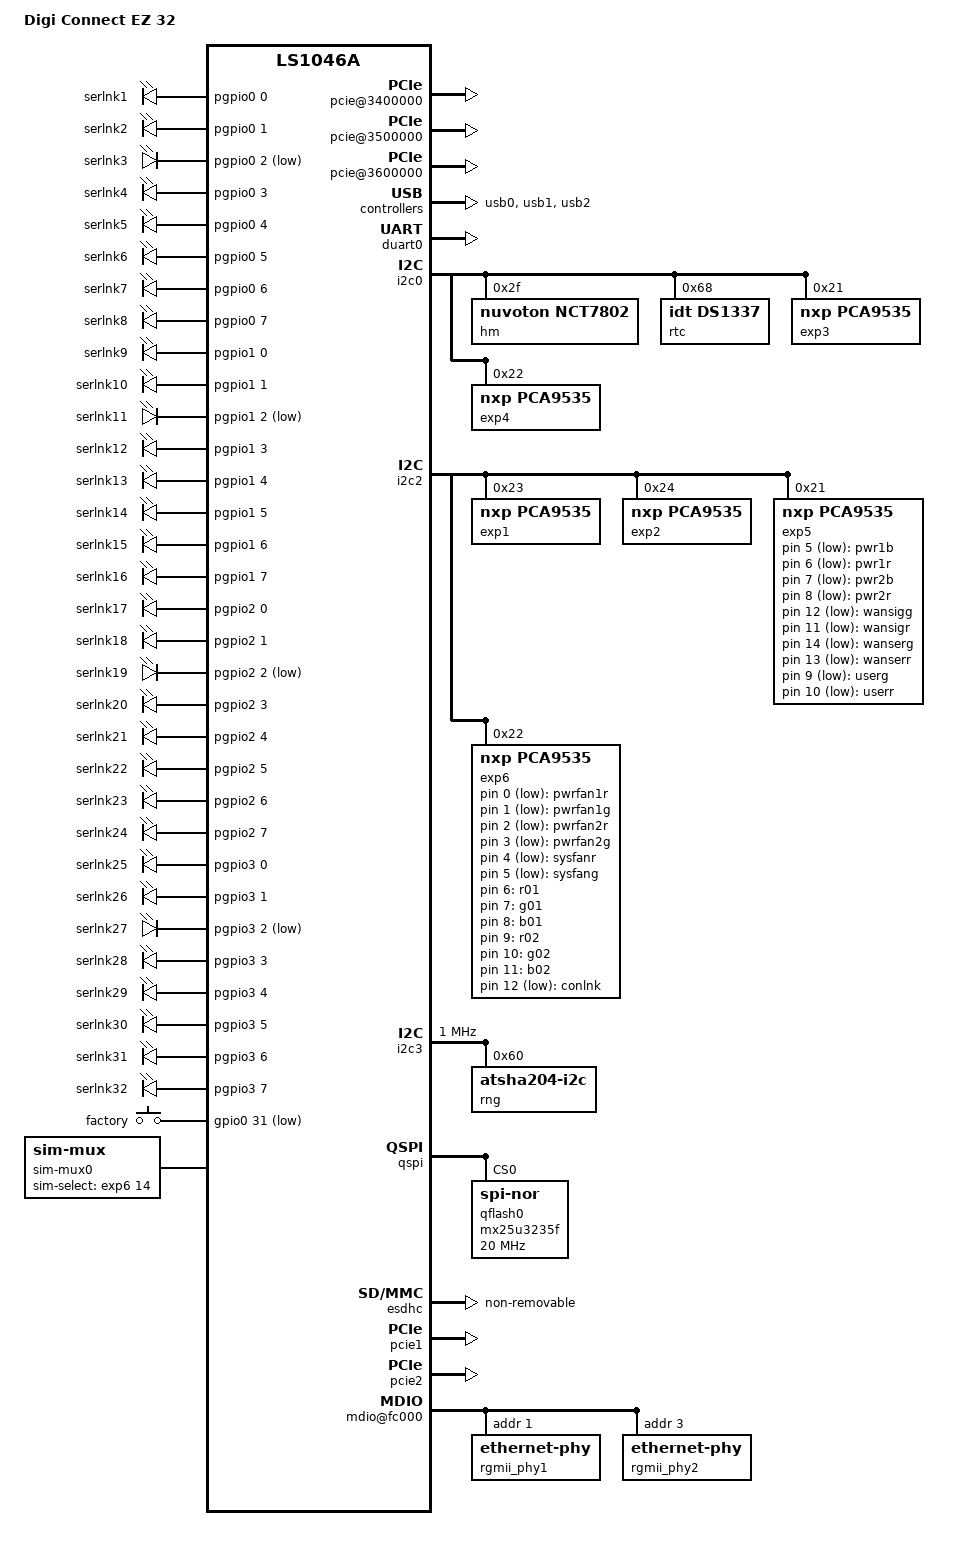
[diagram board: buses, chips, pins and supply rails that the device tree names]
// SPDX-License-Identifier: (GPL-2.0+ OR MIT)
/*
 * Device Tree Include file for Digi Connect EZ 32.
 *
 * Copyright 2016 Freescale Semiconductor, Inc.
 * Copyright 2018.2021 Digi Inc.
 *
 * Mingkai Hu <mingkai.hu@nxp.com>
 * Greg Ungerer <gregory.ungerer@digi.com>
 */

/dts-v1/;

#include "fsl-ls1046a.dtsi"
#include <dt-bindings/interrupt-controller/arm-gic.h>
#include <dt-bindings/gpio/gpio.h>
#include <dt-bindings/input/input.h>

/ {
	model = "Digi Connect EZ 32";
	compatible = "digi,connectez32", "fsl,ls1046a";

	aliases {
		serial0 = &duart0;
	};

	chosen {
		stdout-path = "serial0:115200n8";
	};

	pgpio0: pericom-gpio0 {
		#gpio-cells = <2>;
		gpio-controller;
		gpio-line-names = "serlnk1", "serlnk2", "serlnk3", "serlnk4",
		                  "serlnk5", "serlnk6", "serlnk7", "serlnk8";
	};

	pgpio1: pericom-gpio1 {
		#gpio-cells = <2>;
		gpio-controller;
		gpio-line-names = "serlnk9", "serlnk10", "serlnk11", "serlnk12",
		                  "serlnk13", "serlnk14", "serlnk15", "serlnk16";
	};

	pgpio2: pericom-gpio2 {
		#gpio-cells = <2>;
		gpio-controller;
		gpio-line-names = "serlnk17", "serlnk18", "serlnk19", "serlnk20",
		                  "serlnk21", "serlnk22", "serlnk23", "serlnk24";
	};

	pgpio3: pericom-gpio3 {
		#gpio-cells = <2>;
		gpio-controller;
		gpio-line-names = "serlnk25", "serlnk26", "serlnk27", "serlnk28",
		                  "serlnk29", "serlnk30", "serlnk31", "serlnk32";
	};

	leds {
		compatible = "gpio-leds";

		serlnk1 {
			label = "serlnk1";
			gpios = <&pgpio0 0 GPIO_ACTIVE_HIGH>;
			linux,default-trigger = "timer";
			default-state = "off";
		};

		serlnk2 {
			label = "serlnk2";
			gpios = <&pgpio0 1 GPIO_ACTIVE_HIGH>;
			linux,default-trigger = "timer";
			default-state = "off";
		};

		serlnk3 {
			label = "serlnk3";
			gpios = <&pgpio0 2 GPIO_ACTIVE_LOW>;
			linux,default-trigger = "timer";
			default-state = "off";
		};

		serlnk4 {
			label = "serlnk4";
			gpios = <&pgpio0 3 GPIO_ACTIVE_HIGH>;
			linux,default-trigger = "timer";
			default-state = "off";
		};

		serlnk5 {
			label = "serlnk5";
			gpios = <&pgpio0 4 GPIO_ACTIVE_HIGH>;
			linux,default-trigger = "timer";
			default-state = "off";
		};

		serlnk6 {
			label = "serlnk6";
			gpios = <&pgpio0 5 GPIO_ACTIVE_HIGH>;
			linux,default-trigger = "timer";
			default-state = "off";
		};

		serlnk7 {
			label = "serlnk7";
			gpios = <&pgpio0 6 GPIO_ACTIVE_HIGH>;
			linux,default-trigger = "timer";
			default-state = "off";
		};

		serlnk8 {
			label = "serlnk8";
			gpios = <&pgpio0 7 GPIO_ACTIVE_HIGH>;
			linux,default-trigger = "timer";
			default-state = "off";
		};

		serlnk9 {
			label = "serlnk9";
			gpios = <&pgpio1 0 GPIO_ACTIVE_HIGH>;
			linux,default-trigger = "timer";
			default-state = "off";
		};

		serlnk10 {
			label = "serlnk10";
			gpios = <&pgpio1 1 GPIO_ACTIVE_HIGH>;
			linux,default-trigger = "timer";
			default-state = "off";
		};

		serlnk11 {
			label = "serlnk11";
			gpios = <&pgpio1 2 GPIO_ACTIVE_LOW>;
			linux,default-trigger = "timer";
			default-state = "off";
		};

		serlnk12 {
			label = "serlnk12";
			gpios = <&pgpio1 3 GPIO_ACTIVE_HIGH>;
			linux,default-trigger = "timer";
			default-state = "off";
		};

		serlnk13 {
			label = "serlnk13";
			gpios = <&pgpio1 4 GPIO_ACTIVE_HIGH>;
			linux,default-trigger = "timer";
			default-state = "off";
		};

		serlnk14 {
			label = "serlnk14";
			gpios = <&pgpio1 5 GPIO_ACTIVE_HIGH>;
			linux,default-trigger = "timer";
			default-state = "off";
		};

		serlnk15 {
			label = "serlnk15";
			gpios = <&pgpio1 6 GPIO_ACTIVE_HIGH>;
			linux,default-trigger = "timer";
			default-state = "off";
		};

		serlnk16 {
			label = "serlnk16";
			gpios = <&pgpio1 7 GPIO_ACTIVE_HIGH>;
			linux,default-trigger = "timer";
			default-state = "off";
		};

		serlnk17 {
			label = "serlnk17";
			gpios = <&pgpio2 0 GPIO_ACTIVE_HIGH>;
			linux,default-trigger = "timer";
			default-state = "off";
		};

		serlnk18 {
			label = "serlnk18";
			gpios = <&pgpio2 1 GPIO_ACTIVE_HIGH>;
			linux,default-trigger = "timer";
			default-state = "off";
		};

		serlnk19 {
			label = "serlnk19";
			gpios = <&pgpio2 2 GPIO_ACTIVE_LOW>;
			linux,default-trigger = "timer";
			default-state = "off";
		};

		serlnk20 {
			label = "serlnk20";
			gpios = <&pgpio2 3 GPIO_ACTIVE_HIGH>;
			linux,default-trigger = "timer";
			default-state = "off";
		};

		serlnk21 {
			label = "serlnk21";
			gpios = <&pgpio2 4 GPIO_ACTIVE_HIGH>;
			linux,default-trigger = "timer";
			default-state = "off";
		};

		serlnk22 {
			label = "serlnk22";
			gpios = <&pgpio2 5 GPIO_ACTIVE_HIGH>;
			linux,default-trigger = "timer";
			default-state = "off";
		};

		serlnk23 {
			label = "serlnk23";
			gpios = <&pgpio2 6 GPIO_ACTIVE_HIGH>;
			linux,default-trigger = "timer";
			default-state = "off";
		};

		serlnk24 {
			label = "serlnk24";
			gpios = <&pgpio2 7 GPIO_ACTIVE_HIGH>;
			linux,default-trigger = "timer";
			default-state = "off";
		};

		serlnk25 {
			label = "serlnk25";
			gpios = <&pgpio3 0 GPIO_ACTIVE_HIGH>;
			linux,default-trigger = "timer";
			default-state = "off";
		};

		serlnk26 {
			label = "serlnk26";
			gpios = <&pgpio3 1 GPIO_ACTIVE_HIGH>;
			linux,default-trigger = "timer";
			default-state = "off";
		};

		serlnk27 {
			label = "serlnk27";
			gpios = <&pgpio3 2 GPIO_ACTIVE_LOW>;
			linux,default-trigger = "timer";
			default-state = "off";
		};

		serlnk28 {
			label = "serlnk28";
			gpios = <&pgpio3 3 GPIO_ACTIVE_HIGH>;
			linux,default-trigger = "timer";
			default-state = "off";
		};

		serlnk29 {
			label = "serlnk29";
			gpios = <&pgpio3 4 GPIO_ACTIVE_HIGH>;
			linux,default-trigger = "timer";
			default-state = "off";
		};

		serlnk30 {
			label = "serlnk30";
			gpios = <&pgpio3 5 GPIO_ACTIVE_HIGH>;
			linux,default-trigger = "timer";
			default-state = "off";
		};

		serlnk31 {
			label = "serlnk31";
			gpios = <&pgpio3 6 GPIO_ACTIVE_HIGH>;
			linux,default-trigger = "timer";
			default-state = "off";
		};

		serlnk32 {
			label = "serlnk32";
			gpios = <&pgpio3 7 GPIO_ACTIVE_HIGH>;
			linux,default-trigger = "timer";
			default-state = "off";
		};

		pwr1_blue {
			label = "pwr1b";
			gpios = <&exp5 5 GPIO_ACTIVE_LOW>;
			linux,default-trigger = "timer";
			default-state = "off";
		};

		pwr1_red {
			label = "pwr1r";
			gpios = <&exp5 6 GPIO_ACTIVE_LOW>;
			linux,default-trigger = "timer";
			default-state = "off";
		};

		pwr2_blue {
			label = "pwr2b";
			gpios = <&exp5 7 GPIO_ACTIVE_LOW>;
			linux,default-trigger = "timer";
			default-state = "off";
		};

		pwr2_red {
			label = "pwr2r";
			gpios = <&exp5 8 GPIO_ACTIVE_LOW>;
			linux,default-trigger = "timer";
			default-state = "off";
		};

		wwan_sig_gr {
			label = "wansigg";
			gpios = <&exp5 12 GPIO_ACTIVE_LOW>;
			linux,default-trigger = "timer";
			default-state = "off";
		};

		wwan_sig_red {
			label = "wansigr";
			gpios = <&exp5 11 GPIO_ACTIVE_LOW>;
			linux,default-trigger = "timer";
		};

		wwan_serv_gr {
			label = "wanserg";
			gpios = <&exp5 14 GPIO_ACTIVE_LOW>;
			linux,default-trigger = "timer";
			default-state = "off";
		};

		wwan_serv_red {
			label = "wanserr";
			gpios = <&exp5 13 GPIO_ACTIVE_LOW>;
			linux,default-trigger = "timer";
			default-state = "off";
		};

		pwr_fan1_red {
			label = "pwrfan1r";
			gpios = <&exp6 0 GPIO_ACTIVE_LOW>;
			linux,default-trigger = "timer";
			default-state = "off";
		};

		pwr_fan1_gr {
			label = "pwrfan1g";
			gpios = <&exp6 1 GPIO_ACTIVE_LOW>;
			linux,default-trigger = "timer";
			default-state = "off";
		};

		pwr_fan2_red {
			label = "pwrfan2r";
			gpios = <&exp6 2 GPIO_ACTIVE_LOW>;
			linux,default-trigger = "timer";
			default-state = "off";
		};

		pwr_fan2_gr {
			label = "pwrfan2g";
			gpios = <&exp6 3 GPIO_ACTIVE_LOW>;
			linux,default-trigger = "timer";
			default-state = "off";
		};

		sys_fan_red {
			label = "sysfanr";
			gpios = <&exp6 4 GPIO_ACTIVE_LOW>;
			linux,default-trigger = "timer";
			default-state = "off";
		};

		sys_fan_gr {
			label = "sysfang";
			gpios = <&exp6 5 GPIO_ACTIVE_LOW>;
			linux,default-trigger = "timer";
			default-state = "off";
		};

		usb1_red {
			label = "r01";
			gpios = <&exp6 6 GPIO_ACTIVE_HIGH>;
			linux,default-trigger = "timer";
			default-state = "off";
		};

		usb1_gr {
			label = "g01";
			gpios = <&exp6 7 GPIO_ACTIVE_HIGH>;
			linux,default-trigger = "timer";
			default-state = "off";
		};

		usb1_blue {
			label = "b01";
			gpios = <&exp6 8 GPIO_ACTIVE_HIGH>;
			linux,default-trigger = "timer";
			default-state = "off";
		};

		usb2_red {
			label = "r02";
			gpios = <&exp6 9 GPIO_ACTIVE_HIGH>;
			linux,default-trigger = "timer";
			default-state = "off";
		};

		usb2_gr {
			label = "g02";
			gpios = <&exp6 10 GPIO_ACTIVE_HIGH>;
			linux,default-trigger = "timer";
			default-state = "off";
		};

		usb2_blue {
			label = "b02";
			gpios = <&exp6 11 GPIO_ACTIVE_HIGH>;
			linux,default-trigger = "timer";
			default-state = "off";
		};

		user_gr {
			label = "userg";
			gpios = <&exp5 9 GPIO_ACTIVE_LOW>;
			linux,default-trigger = "timer";
			default-state = "off";
		};

		user_red {
			label = "userr";
			gpios = <&exp5 10 GPIO_ACTIVE_LOW>;
			linux,default-trigger = "timer";
			default-state = "off";
		};

		con_link {
			label = "conlnk";
			gpios = <&exp6 12 GPIO_ACTIVE_LOW>;
			linux,default-trigger = "timer";
			default-state = "off";
		};
	};

	soc {
		 pcie@3400000 {
			compatible = "fsl,ls1046a-pcie", "snps,dw-pcie";
			status = "okay";
			num-ib-windows = <6>;
			num-ob-windows = <6>;
		 };
		 pcie@3500000 {
			compatible = "fsl,ls1046a-pcie", "snps,dw-pcie";
			status = "okay";
			num-ib-windows = <6>;
			num-ob-windows = <6>;
		 };
		 pcie@3600000 {
			compatible = "fsl,ls1046a-pcie", "snps,dw-pcie";
			status = "okay";
			num-ib-windows = <6>;
			num-ob-windows = <6>;
		 };

		aux_bus {
			usb0: usb@2f00000 {
				usb3-lpm-capable;
				snps,dis-u1u2-when-u3-quirk;
				snps,incr-burst-type-adjustment = <1>, <4>, <8>, <16>;
				clock-names = "ref", "bus_early", "suspend";
				clocks = <&clockgen 4 1>, <&clockgen 4 1>,<&clockgen 4 1>;
				status = "okay";
			};

			usb1: usb@3000000 {
				usb3-lpm-capable;
				snps,dis-u1u2-when-u3-quirk;
				snps,incr-burst-type-adjustment = <1>, <4>, <8>, <16>;
				clock-names = "ref", "bus_early", "suspend";
				clocks = <&clockgen 4 1>, <&clockgen 4 1>,<&clockgen 4 1>;
				status = "okay";
			};

			usb2: usb@3100000 {
				usb3-lpm-capable;
				snps,dis-u1u2-when-u3-quirk;
				snps,incr-burst-type-adjustment = <1>, <4>, <8>, <16>;
				clock-names = "ref", "bus_early", "suspend";
				clocks = <&clockgen 4 1>, <&clockgen 4 1>,<&clockgen 4 1>;
				status = "okay";
			};
		};
	};

	gpio-keys {
		compatible = "gpio-keys";

		factory-button {
			label = "factory";
			linux,code = <KEY_DELETE>;
			gpios = <&gpio0 31 GPIO_ACTIVE_LOW>;
		};
	};

	sim-mux0 {
		compatible = "sim-mux";

		sim-select-gpios  = <&exp6 14 GPIO_ACTIVE_HIGH>;

		sim-count = <2>;
	};
};

&duart0 {
	status = "okay";
	dtr-gpios = <&gpio0 27 GPIO_ACTIVE_LOW>;
	dsr-gpios = <&gpio0 29 GPIO_ACTIVE_LOW>;
	dcd-gpios = <&gpio0 28 GPIO_ACTIVE_LOW>;
	rng-gpios = <&gpio0 30 GPIO_ACTIVE_LOW>;
	uart-has-rtscts;
};

&i2c0 {
	status = "okay";
	hm@2f {
		compatible = "nuvoton,nct7802";
		reg = <0x2f>;
	};
	rtc@68 {
		compatible = "idt,ds1337";
		reg = <0x68>;
	};

	/****************************************************************
	 * MEI */
	exp3: pca9535@21 {
		#gpio-cells = <2>;
		compatible = "nxp,pca9535";
		reg = <0x21>;
		pinctrl-names = "default";
		gpio-controller;
		gpio-line-names = "2w_en17", "2w_en18", "2w_en19", "2w_en20", "2w_en21", "2w_en22", "2w_en23", "2w_en24",
		                   "term17",  "term18",  "term19",  "term20",  "term21",  "term22",  "term23",  "term24";
	};

	exp4: pca9535@22 {
		#gpio-cells = <2>;
		compatible = "nxp,pca9535";
		reg = <0x22>;
		pinctrl-names = "default";
		gpio-controller;
		gpio-line-names = "2w_en25", "2w_en26", "2w_en27", "2w_en28", "2w_en29", "2w_en30", "2w_en31", "2w_en32",
		                   "term25",  "term26",  "term27",  "term28",  "term29",  "term30",  "term31",  "term32";
	};
	/****************************************************************/
};

&i2c2 {
	status = "okay";
	
	/****************************************************************
	 * MEI */
	exp1: pca9535@23 {
		#gpio-cells = <2>;
		compatible = "nxp,pca9535";
		reg = <0x23>;
		pinctrl-names = "default";
		gpio-controller;
		gpio-line-names = "2w_en1", "2w_en2", "2w_en3", "2w_en4", "2w_en5", "2w_en6", "2w_en7", "2w_en8",
		                   "term1",  "term2",  "term3",  "term4",  "term5",  "term6",  "term7",  "term8";
	};

	exp2: pca9535@24 {
		#gpio-cells = <2>;
		compatible = "nxp,pca9535";
		reg = <0x24>;
		pinctrl-names = "default";
		gpio-controller;
		gpio-line-names = "2w_en9", "2w_en10", "2w_en11", "2w_en12", "2w_en13", "2w_en14", "2w_en15", "2w_en16",
		                   "term9",  "term10",  "term11",  "term12",  "term13",  "term14",  "term15",  "term16";
	};
	/****************************************************************/

	exp5: pca9535@21 {
		#gpio-cells = <2>;
		compatible = "nxp,pca9535";
		reg = <0x21>;
		pinctrl-names = "default";
		gpio-controller;
		gpio-line-names = "psu1_in", "psu2_in", "fan3_in", "dc_in1pok", "dc_in2pok", "pwr_psu1_blue", "pwr_psu1_red", "pwr_psu2_blue",
		                  "pwr_psu2_red", "user_gr",  "user_red",  "sig_red",  "sig_gr",  "serv_red",  "serv_gr",  "ta_prog_sfp";
	};

	exp6: pca9535@22 {
		#gpio-cells = <2>;
		compatible = "nxp,pca9535";
		reg = <0x22>;
		pinctrl-names = "default";
		gpio-controller;
		gpio-line-names = "pwr_fan1_red", "pwr_fan1_gr", "pwr_fan2_red", "pwr_fan2_gr", "sysfan_red", "sysfan_gr", "usb1_red", "usb1_gr",
		                  "usb1_blue",  "usb2_red",  "usb2_gr",  "usb2_blue",  "con_link",  "cell_det",  "sim_switch",  "cell_pwr_en";
	};
};

&i2c3 {
	clock-frequency = <1000000>;
	status = "okay";

	rng: atecc608b@60 {
		compatible = "atsha204-i2c";
		reg = <0x60>;
	};
};

&qspi {
	num-cs = <1>;
	bus-num = <0>;
	status = "okay";

	qflash0: mx25u3235f@0 {
		compatible = "jedec,spi-nor";
		#address-cells = <1>;
		#size-cells = <1>;
		spi-max-frequency = <20000000>;
		spi-rx-bus-width = <1>;
		spi-tx-bus-width = <1>;
		reg = <0>;
	};
};

&esdhc {
	mmc-hs200-1_8v;
	non-removable;
	status = "okay";
};

&pcie1 {
	status = "okay";
};

&pcie2 {
	status = "okay";
};

&ifc {
	status = "disabled";
};

#include "fsl-ls1046-post.dtsi"

&fman0 {
	ethernet@e0000 {
		status = "disabled";
	};

	ethernet@e2000 {
		status = "disabled";
	};

	ethernet@e4000 {
		phy-handle = <&rgmii_phy1>;
		phy-mode = "rgmii-id";
	};

	ethernet@e6000 {
		phy-handle = <&rgmii_phy2>;
		phy-mode = "rgmii-id";
	};

	ethernet@e8000 {
		status = "disabled";
	};

	ethernet@ea000 {
		status = "disabled";
	};

	ethernet@f0000 {
		phy-mode = "xgmii";
		fixed-link {
			speed = <1000>;
			full-duplex;
		};
	};

	ethernet@f2000 {
		phy-mode = "xgmii";
		fixed-link {
			speed = <1000>;
			full-duplex;
		};
	};

	mdio@fc000 {
		rgmii_phy1: ethernet-phy@1 {
			reg = <0x1>;
		};
		rgmii_phy2: ethernet-phy@2 {
			reg = <0x3>;
		};
	};

	/*
	 * Being this is the MDIO bus on the 10G EC block, the MDC isn't
	 * initialized on boot and will need to be enabled in the
	 * bootloader
	 */
	mdio@fd000 {
	/*	rgmii_phy2: ethernet-phy@2 {
			reg = <0x2>;
		}; */
	};
};

&gpio0 {
	gpio-line-names = "", "", "", "", "", "", "", "",
	                  "", "", "", "", "", "", "", "",
	                  "", "", "", "", "", "", "", "",
	                  "", "", "", "", "", "", "", "factory";
};

&gpio1 {
	gpio-line-names = "", "", "", "", "", "", "", "",
			  "", "", "", "", "developer_", "", "", "",
			  "", "", "", "", "", "", "", "",
			  "", "", "", "", "", "", "", "";
};
